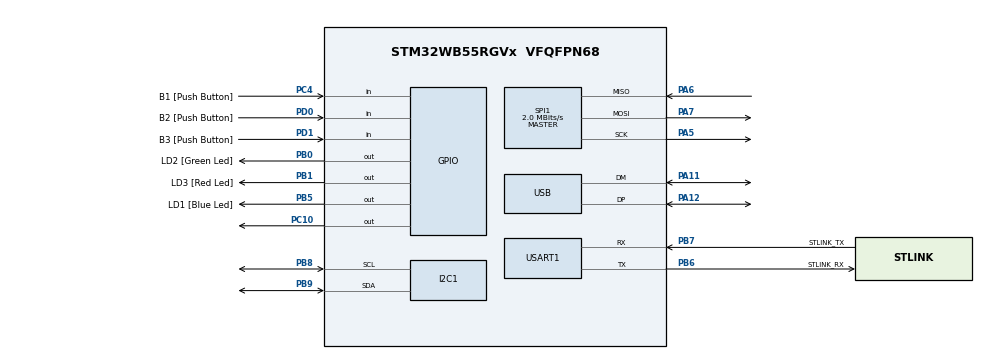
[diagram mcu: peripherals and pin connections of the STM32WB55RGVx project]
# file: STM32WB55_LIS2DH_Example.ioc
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FATFS._MAX_SS=4096
I2C1.Timing=0x00B07CB4
Mcu.Family=STM32WB
Mcu.Name=STM32WB55RGVx
Mcu.Package=VFQFPN68
NVIC.PriorityGroup=NVIC_PRIORITYGROUP_4
OSC_IN.Mode=HSE-External-Oscillator
OSC_IN.Signal=RCC_OSC_IN
OSC_OUT.Mode=HSE-External-Oscillator
OSC_OUT.Signal=RCC_OSC_OUT
PA11.Mode=Device
PA11.Signal=USB_DM
PA12.Mode=Device
PA12.Signal=USB_DP
PA13.GPIO_Label=JTMS
PA13.Mode=Serial_Wire
PA13.Signal=SYS_JTMS-SWDIO
PA14.GPIO_Label=JTCK
PA14.Mode=Serial_Wire
PA14.Signal=SYS_JTCK-SWCLK
PA5.Mode=Full_Duplex_Master
PA5.Signal=SPI1_SCK
PA6.Mode=Full_Duplex_Master
PA6.Signal=SPI1_MISO
PA7.Mode=Full_Duplex_Master
PA7.Signal=SPI1_MOSI
PB0.GPIO_Label=LD2 [Green Led]
PB0.Signal=GPIO_Output
PB1.GPIO_Label=LD3 [Red Led]
PB1.Signal=GPIO_Output
PB3.GPIO_Label=JTDO
PB3.Signal=SYS_JTDO-SWO
PB5.GPIO_Label=LD1 [Blue Led]
PB5.Signal=GPIO_Output
PB6.GPIO_Label=STLINK_RX
PB6.GPIO_PuPd=GPIO_PULLUP
PB6.Mode=Asynchronous
PB6.Signal=USART1_TX
PB7.GPIO_Label=STLINK_TX
PB7.GPIO_PuPd=GPIO_PULLUP
PB7.Mode=Asynchronous
PB7.Signal=USART1_RX
PB8.Mode=I2C
PB8.Signal=I2C1_SCL
PB9.Mode=I2C
PB9.Signal=I2C1_SDA
PC10.Signal=GPIO_Output
PC13.Mode=SYS_WakeUp1
PC13.Signal=SYS_WKUP2
PC14-OSC32_IN.Mode=LSE-External-Oscillator
PC14-OSC32_IN.Signal=RCC_OSC32_IN
PC15-OSC32_OUT.Mode=LSE-External-Oscillator
PC15-OSC32_OUT.Signal=RCC_OSC32_OUT
PC4.GPIO_Label=B1 [Push Button]
PC4.Signal=GPIO_Input
PD0.GPIO_Label=B2 [Push Button]
PD0.Signal=GPIO_Input
PD1.GPIO_Label=B3 [Push Button]
PD1.Signal=GPIO_Input
ProjectManager.HeapSize=0x200
ProjectManager.StackSize=0x400
ProjectManager.TargetToolchain=STM32CubeIDE
RCC.ADCFreq_Value=48000000
RCC.AHBFreq_Value=32000000
RCC.APB1Freq_Value=32000000
RCC.APB1TimFreq_Value=32000000
RCC.APB2Freq_Value=32000000
RCC.APB2TimFreq_Value=32000000
RCC.APB3Freq_Value=16000000
RCC.Cortex2_Div=SYSTICK_CLKSOURCE_HCLK_DIV8
RCC.CortexFreq_Value=32000000
RCC.HCLKFreq_Value=32000000
RCC.HSE_VALUE=32000000
RCC.HSI48_VALUE=48000000
RCC.HSI_VALUE=16000000
RCC.LSE_Drive_Capability=RCC_LSEDRIVE_LOW
RCC.PLLN=24
RCC.PLLR=RCC_PLLR_DIV3
RCC.PLLSAI1N=24
RCC.SMPSCLockSelection=RCC_SMPSCLKSOURCE_HSI
RCC.SMPSCLockSelectionVirtual=RCC_SMPSCLKSOURCE_HSI
RCC.SMPSCLockSelectionVirtualVirtual=RCC_SMPSCLKSOURCE_HSI
RCC.SMPSDivider=1
RCC.SYSCLKFreq_VALUE=32000000
RCC.SYSCLKSource=RCC_SYSCLKSOURCE_PLLCLK
RCC.USBFreq_Value=48000000
RCC.VCOOutputFreq_Value=96000000
SPI1.BaudRatePrescaler=SPI_BAUDRATEPRESCALER_16
SPI1.CalculateBaudRate=2.0 MBits/s
SPI1.DataSize=SPI_DATASIZE_8BIT
SPI1.Direction=SPI_DIRECTION_2LINES
SPI1.Mode=SPI_MODE_MASTER
SPI1.VirtualType=VM_MASTER
USART1.VirtualMode-Asynchronous=VM_ASYNC
USART1.WordLength=WORDLENGTH_8B
VP_FATFS_VS_Generic.Mode=User_defined
VP_MEMORYMAP_VS_MEMORYMAP.Mode=CurAppReg
board=NUCLEO-WB55RG

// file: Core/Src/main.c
/* USER CODE BEGIN Header */
/**
 ******************************************************************************
 * @file           : main.c
 * @brief          : Main program body
 ******************************************************************************
 * @attention
 *
 * Copyright (c) 2024 STMicroelectronics.
 * All rights reserved.
 *
 * This software is licensed under terms that can be found in the LICENSE file
 * in the root directory of this software component.
 * If no LICENSE file comes with this software, it is provided AS-IS.
 *
 ******************************************************************************
 */
/* USER CODE END Header */
#include "main.h"
#include "app_fatfs.h"

/* USER CODE BEGIN Includes */
#include "fatfs_sd.h"
#include "stdio.h"
#include "stdlib.h"
#include <string.h>
#include "lis2dh12_reg.h"
/* USER CODE END Includes */

/* USER CODE BEGIN PD */
#define SENSOR_BUS hi2c1
#define BUFFER_SIZE 128
char buffer[BUFFER_SIZE];  // to store strings..

/* USER CODE END PD */

/* USER CODE BEGIN PM */
#define  BOOT_TIME 5 //ms
#define  SAMPLES  500
#define  MAX_SENSOR_DATA 18
/* USER CODE END PM */

I2C_HandleTypeDef hi2c1;

SPI_HandleTypeDef hspi1;

UART_HandleTypeDef huart1;

PCD_HandleTypeDef hpcd_USB_FS;

/* USER CODE BEGIN PV */
static int16_t data_raw_acceleration[3];
//static int16_t data_raw_temperature;
static float acceleration_mg[3];
int ODR = 0;
//static float temperature_degC;
static uint8_t whoamI;
//static uint8_t tx_buffer[1000];
char *text;
FATFS fs;  // file system
FIL fil; // File
FILINFO fno;
FRESULT fresult;  // result
UINT br, bw;  // File read/write count

/**** capacity related *****/
FATFS *pfs;
DWORD fre_clust;
uint32_t total, free_space;
int i = 0;
char dummy[500];
char data_buffer[SAMPLES][MAX_SENSOR_DATA];  // 200 rows, each holding up to 18 characters
char sd_write_buffer[SAMPLES * MAX_SENSOR_DATA]; // A single buffer for all data (200 * 18 = 3600 bytes max)

size_t total_data_length = 0;
/* USER CODE END PV */

void SystemClock_Config(void);
void PeriphCommonClock_Config(void);
static void MX_GPIO_Init(void);
static void MX_USART1_UART_Init(void);
static void MX_USB_PCD_Init(void);
static void MX_I2C1_Init(void);
static void MX_SPI1_Init(void);
/* USER CODE BEGIN PFP */
static void platform_write(void *handle, uint8_t reg, const uint8_t *bufp, uint16_t len);
static void platform_read(void *handle, uint8_t reg, uint8_t *bufp, uint16_t len);
void send_uart(char *string);
static void platform_delay(uint32_t ms);
void lis2dh12_read_data_polling(void);
static void initialize_sd_card();
void clear_buffer(void);
int bufsize(char *buf);
void write_to_sd(char *data, size_t total_size);  // Function prototype
//static void platform_init(void);
/* USER CODE END PFP */

/* USER CODE BEGIN 0 */

int _write(int32_t file, uint8_t *ptr, int32_t len)
{
  for (int i = 0; i < len; i++)
  {
    ITM_SendChar(*ptr++);
  }
  return len;
}

/* Main Example --------------------------------------------------------------*/
static void initialize_sd_card(void)
{
  // Mount SDCard
  send_uart("MOUNTING_SD_CARD\n");
  HAL_Delay(1000);

  fresult = f_mount(&fs, "", 1); /* Mode option 0:Do not mount (delayed mount), 1:Mount immediately */
  if (fresult != FR_OK)
  {
    send_uart("*************************************\n");
    send_uart("ERR_MOUNTING_SD_CARD\n");
    send_uart("*************************************\n");
    for (int x = 0; x < 6; x++)
    {
      HAL_GPIO_TogglePin(GPIOA, GPIO_PIN_8);
      HAL_Delay(500);
    }
  }
  else
  {
    send_uart("*************************************\n");
    send_uart("SUCC_MOUNTING_SD_CARD\n");
    send_uart("*************************************\n");
  }

  /*************** Card capacity details ********************/
  /*Checking free space*/
  f_getfree("", &fre_clust, &pfs);
  total = (uint32_t) ((pfs->n_fatent - 2) * pfs->csize * 0.5);
  sprintf(buffer, "SD_CARD_TOTAL_SIZE: \t%lu\n", total);
  send_uart(buffer);
  clear_buffer();
  free_space = (uint32_t) (fre_clust * pfs->csize * 0.5);
  sprintf(buffer, "SD_CARD_FREE_SPACE: \t%lu\n", free_space);
  send_uart(buffer);
  clear_buffer();
}

void lis2dh12_read_data_polling(void)
{
  /* Initialize mems driver interface */
  stmdev_ctx_t dev_ctx;
  lis2dh12_odr_t data_rate;         // Variable to store the data rate
  int32_t ret;

  // Call the function to get the data rate
  dev_ctx.write_reg = platform_write;
  dev_ctx.read_reg = platform_read;
  dev_ctx.mdelay = platform_delay;
  dev_ctx.handle = &hi2c1;
  /* Wait boot time and initialize platform specific hardware */
  //  platform_init();
  /* Wait sensor boot time */
  platform_delay(BOOT_TIME);
  /* Check device ID */
  lis2dh12_device_id_get(&dev_ctx, &whoamI);

  if (whoamI != LIS2DH12_ID)
  {
    while (1)
    {
      /* manage here device not found */
    }
  }
  /* Enable Block Data Update. */
  lis2dh12_block_data_update_set(&dev_ctx, PROPERTY_ENABLE);
  /* Set Output Data Rate to 1Hz. */
  lis2dh12_data_rate_set(&dev_ctx, LIS2DH12_ODR_200Hz);
  /* Set full scale to 2g. */
  lis2dh12_full_scale_set(&dev_ctx, LIS2DH12_2g);
  /* Enable temperature sensor. */
  //  lis2dh12_temperature_meas_set(&dev_ctx, LIS2DH12_TEMP_ENABLE);
  /* Set device in continuous mode with 12 bit resol. */
  lis2dh12_operating_mode_set(&dev_ctx, LIS2DH12_HR_12bit);

  ret = lis2dh12_data_rate_get(&dev_ctx, &data_rate);
  // Check if the function executed successfully
  if (ret == 0)
  {
    // Print the data rate based on the returned value
    switch (data_rate)
    {
    case LIS2DH12_POWER_DOWN:
      send_uart("Data rate: Power Down\n");
      break;
    case LIS2DH12_ODR_1Hz:
      send_uart("Data rate: 1 Hz\n");
      break;
    case LIS2DH12_ODR_10Hz:
      send_uart("Data rate: 10 Hz\n");
      break;
    case LIS2DH12_ODR_25Hz:
      send_uart("Data rate: 25 Hz\n");
      break;
    case LIS2DH12_ODR_50Hz:
      send_uart("Data rate: 50 Hz\n");
      break;
    case LIS2DH12_ODR_100Hz:
      send_uart("Data rate: 100 Hz\n");
      break;
    case LIS2DH12_ODR_200Hz:
      send_uart("Data rate: 200 Hz\n");
      break;
    case LIS2DH12_ODR_400Hz:
      send_uart("Data rate: 400 Hz\n");
      break;
    case LIS2DH12_ODR_1kHz620_LP:
      send_uart("Data rate: 1.620 kHz (Low Power mode)\n");
      break;
    case LIS2DH12_ODR_5kHz376_LP_1kHz344_NM_HP:
      send_uart("Data rate: 5.376 kHz (Low Power) / 1.344 kHz (Normal/High Performance)\n");
      break;
    default:
      send_uart("Data rate: Unknown\n");
      break;
    }
  }
  else
  {
    // Handle error
    sprintf(buffer, "Failed to read data rate, error code: %ld\n", ret);
    send_uart(buffer);
  }

  for (int i = 0; i < SAMPLES; i++)
  { //sampling 200 data = 2 detik (i.0n 100Hz)
    uint32_t start_time = HAL_GetTick(); //HAL_GetTick(); resolution in ms
    lis2dh12_reg_t reg;
    lis2dh12_xl_data_ready_get(&dev_ctx, &reg.byte);
    memset(data_raw_acceleration, 0x00, 3 * sizeof(int16_t));
    lis2dh12_acceleration_raw_get(&dev_ctx, data_raw_acceleration);
    acceleration_mg[0] = lis2dh12_from_fs2_hr_to_mg(data_raw_acceleration[0]);
    acceleration_mg[1] = lis2dh12_from_fs2_hr_to_mg(data_raw_acceleration[1]);
    acceleration_mg[2] = lis2dh12_from_fs2_hr_to_mg(data_raw_acceleration[2]);
    // Append formatted data directly to the single buffer (max 18 characters per entry)
    // Store formatted data in data_buffer (max 18 characters)
    snprintf(
        data_buffer[i],
        sizeof(data_buffer[i]),
        "%d,%d,%d\n",
        (int) acceleration_mg[0],
        (int) acceleration_mg[1],
        (int) acceleration_mg[2]);

    // Concatenate each line to sd_write_buffer and update total length
    size_t line_length = strlen(data_buffer[i]);
    memcpy(sd_write_buffer + total_data_length, data_buffer[i], line_length);
    total_data_length += line_length;

    // Wait until 10ms have passed
    while (HAL_GetTick() < start_time + 10)
    {
      //wait for 1ms
    }
  }
  send_uart("finish polling sensor data\n");
}

// Function to write the global data_buffer to SD card
void write_to_sd(char *data, size_t total_size)
{

  int counter = 0;
  int file_exists = 0;
  char filename[100];

  do
  {
    if (counter == 0)
    {
      snprintf(filename, sizeof(filename), "result.csv");
    }
    else
    {
      snprintf(filename, sizeof(filename), "result_%d.csv", counter);
    }

    if (f_open(&fil, filename, FA_OPEN_EXISTING) == FR_OK)
    {
      f_close(&fil);
      file_exists = 1;
      counter++;
    }
    else
    {
      file_exists = 0;
    }
  }
  while (file_exists);

  if (f_open(&fil, filename, FA_OPEN_APPEND | FA_WRITE) == FR_OK)
  {
    fresult = f_write(&fil, data, total_size, &br);
    if (fresult != FR_OK || br != total_size)
    {
      // Handle write error
    }
    f_close(&fil);
  }
  else
  {
    // Handle file open error
  }
  /* Unmount SDCARD */
  fresult = f_mount(NULL, "", 0);
  if (fresult == FR_OK)
  {
    send_uart("SD CARD UNMOUNTED successfully...\n");
  }
  memset(data_buffer, 0, sizeof(data_buffer));
}

/*
 * @brief  Write generic device register (platform dependent)
 *
 * @param  handle    customizable argument. In this examples is used in
 *                   order to select the correct sensor bus handler.
 * @param  reg       register to write
 * @param  bufp      pointer to data to write in register reg
 * @param  len       number of consecutive register to write
 *
 */
static void platform_write(void *handle, uint8_t reg, const uint8_t *bufp, uint16_t len)
{
  reg |= 0x80;
  HAL_I2C_Mem_Write(handle, LIS2DH12_I2C_ADD_L, reg,
  I2C_MEMADD_SIZE_8BIT, (uint8_t*) bufp, len, 1000);
}

static void platform_read(void *handle, uint8_t reg, uint8_t *bufp, uint16_t len)
{
  /* Read multiple command */
  reg |= 0x80;
  HAL_I2C_Mem_Read(handle, LIS2DH12_I2C_ADD_L, reg,
  I2C_MEMADD_SIZE_8BIT, bufp, len, 1000);
}

void send_uart(char *string)
{
  uint8_t len = strlen(string);
  HAL_UART_Transmit(&huart1, (uint8_t*) string, len, 1000);
}

static void platform_delay(uint32_t ms)
{
  HAL_Delay(ms);
}

int bufsize(char *buf)
{
  int i = 0;
  while (*buf++ != '\0')
    i++;
  return i;
}

void clear_buffer(void)
{
  for (int i = 0; i < BUFFER_SIZE; i++)
    buffer[i] = '\0';
}

/* USER CODE END 0 */

int main(void)
{

  /* MCU Configuration--------------------------------------------------------*/

  /* Reset of all peripherals, Initializes the Flash interface and the Systick. */
  HAL_Init();

  /* Configure the system clock */
  SystemClock_Config();

  /* Configure the peripherals common clocks */
  PeriphCommonClock_Config();

  /* Initialize all configured peripherals */
  MX_GPIO_Init();
  MX_USART1_UART_Init();
  MX_USB_PCD_Init();
  MX_I2C1_Init();
  MX_SPI1_Init();
  if (MX_FATFS_Init() != APP_OK)
  {
    Error_Handler();
  }
  /* USER CODE BEGIN 2 */
  //  logging_sdcard("################\n");
  initialize_sd_card();
  lis2dh12_read_data_polling();
  write_to_sd(sd_write_buffer, total_data_length);

  /* USER CODE END 2 */

  /* Infinite loop */
  while (1)
  {

    /* USER CODE BEGIN 3 */
//    lis2dh12_read_data_polling();
  }
  /* USER CODE END 3 */
}

void SystemClock_Config(void)
{
  RCC_OscInitTypeDef RCC_OscInitStruct = { 0 };
  RCC_ClkInitTypeDef RCC_ClkInitStruct = { 0 };

  /** Configure LSE Drive Capability
   */
  HAL_PWR_EnableBkUpAccess();
  __HAL_RCC_LSEDRIVE_CONFIG(RCC_LSEDRIVE_LOW);

  /** Configure the main internal regulator output voltage
   */
  __HAL_PWR_VOLTAGESCALING_CONFIG(PWR_REGULATOR_VOLTAGE_SCALE1);

  /** Initializes the RCC Oscillators according to the specified parameters
   * in the RCC_OscInitTypeDef structure.
   */
  RCC_OscInitStruct.OscillatorType = RCC_OSCILLATORTYPE_HSI | RCC_OSCILLATORTYPE_HSE | RCC_OSCILLATORTYPE_LSE
      | RCC_OSCILLATORTYPE_MSI;
  RCC_OscInitStruct.HSEState = RCC_HSE_ON;
  RCC_OscInitStruct.LSEState = RCC_LSE_ON;
  RCC_OscInitStruct.HSIState = RCC_HSI_ON;
  RCC_OscInitStruct.MSIState = RCC_MSI_ON;
  RCC_OscInitStruct.HSICalibrationValue = RCC_HSICALIBRATION_DEFAULT;
  RCC_OscInitStruct.MSICalibrationValue = RCC_MSICALIBRATION_DEFAULT;
  RCC_OscInitStruct.MSIClockRange = RCC_MSIRANGE_6;
  RCC_OscInitStruct.PLL.PLLState = RCC_PLL_ON;
  RCC_OscInitStruct.PLL.PLLSource = RCC_PLLSOURCE_MSI;
  RCC_OscInitStruct.PLL.PLLM = RCC_PLLM_DIV1;
  RCC_OscInitStruct.PLL.PLLN = 24;
  RCC_OscInitStruct.PLL.PLLP = RCC_PLLP_DIV2;
  RCC_OscInitStruct.PLL.PLLR = RCC_PLLR_DIV3;
  RCC_OscInitStruct.PLL.PLLQ = RCC_PLLQ_DIV2;
  if (HAL_RCC_OscConfig(&RCC_OscInitStruct) != HAL_OK)
  {
    Error_Handler();
  }

  /** Configure the SYSCLKSource, HCLK, PCLK1 and PCLK2 clocks dividers
   */
  RCC_ClkInitStruct.ClockType = RCC_CLOCKTYPE_HCLK4 | RCC_CLOCKTYPE_HCLK2 | RCC_CLOCKTYPE_HCLK | RCC_CLOCKTYPE_SYSCLK
      | RCC_CLOCKTYPE_PCLK1 | RCC_CLOCKTYPE_PCLK2;
  RCC_ClkInitStruct.SYSCLKSource = RCC_SYSCLKSOURCE_PLLCLK;
  RCC_ClkInitStruct.AHBCLKDivider = RCC_SYSCLK_DIV1;
  RCC_ClkInitStruct.APB1CLKDivider = RCC_HCLK_DIV1;
  RCC_ClkInitStruct.APB2CLKDivider = RCC_HCLK_DIV1;
  RCC_ClkInitStruct.AHBCLK2Divider = RCC_SYSCLK_DIV1;
  RCC_ClkInitStruct.AHBCLK4Divider = RCC_SYSCLK_DIV1;

  if (HAL_RCC_ClockConfig(&RCC_ClkInitStruct, FLASH_LATENCY_1) != HAL_OK)
  {
    Error_Handler();
  }

  /** Enable MSI Auto calibration
   */
  HAL_RCCEx_EnableMSIPLLMode();
}

void PeriphCommonClock_Config(void)
{
  RCC_PeriphCLKInitTypeDef PeriphClkInitStruct = { 0 };

  /** Initializes the peripherals clock
   */
  PeriphClkInitStruct.PeriphClockSelection = RCC_PERIPHCLK_SMPS;
  PeriphClkInitStruct.SmpsClockSelection = RCC_SMPSCLKSOURCE_HSI;
  PeriphClkInitStruct.SmpsDivSelection = RCC_SMPSCLKDIV_RANGE0;

  if (HAL_RCCEx_PeriphCLKConfig(&PeriphClkInitStruct) != HAL_OK)
  {
    Error_Handler();
  }
}

static void MX_I2C1_Init(void)
{

  hi2c1.Instance = I2C1;
  hi2c1.Init.Timing = 0x00B07CB4;
  hi2c1.Init.OwnAddress1 = 0;
  hi2c1.Init.AddressingMode = I2C_ADDRESSINGMODE_7BIT;
  hi2c1.Init.DualAddressMode = I2C_DUALADDRESS_DISABLE;
  hi2c1.Init.OwnAddress2 = 0;
  hi2c1.Init.OwnAddress2Masks = I2C_OA2_NOMASK;
  hi2c1.Init.GeneralCallMode = I2C_GENERALCALL_DISABLE;
  hi2c1.Init.NoStretchMode = I2C_NOSTRETCH_DISABLE;
  if (HAL_I2C_Init(&hi2c1) != HAL_OK)
  {
    Error_Handler();
  }

  /** Configure Analogue filter
   */
  if (HAL_I2CEx_ConfigAnalogFilter(&hi2c1, I2C_ANALOGFILTER_ENABLE) != HAL_OK)
  {
    Error_Handler();
  }

  /** Configure Digital filter
   */
  if (HAL_I2CEx_ConfigDigitalFilter(&hi2c1, 0) != HAL_OK)
  {
    Error_Handler();
  }

}

static void MX_SPI1_Init(void)
{

  /* SPI1 parameter configuration*/
  hspi1.Instance = SPI1;
  hspi1.Init.Mode = SPI_MODE_MASTER;
  hspi1.Init.Direction = SPI_DIRECTION_2LINES;
  hspi1.Init.DataSize = SPI_DATASIZE_8BIT;
  hspi1.Init.CLKPolarity = SPI_POLARITY_LOW;
  hspi1.Init.CLKPhase = SPI_PHASE_1EDGE;
  hspi1.Init.NSS = SPI_NSS_SOFT;
  hspi1.Init.BaudRatePrescaler = SPI_BAUDRATEPRESCALER_16;
  hspi1.Init.FirstBit = SPI_FIRSTBIT_MSB;
  hspi1.Init.TIMode = SPI_TIMODE_DISABLE;
  hspi1.Init.CRCCalculation = SPI_CRCCALCULATION_DISABLE;
  hspi1.Init.CRCPolynomial = 7;
  hspi1.Init.CRCLength = SPI_CRC_LENGTH_DATASIZE;
  hspi1.Init.NSSPMode = SPI_NSS_PULSE_ENABLE;
  if (HAL_SPI_Init(&hspi1) != HAL_OK)
  {
    Error_Handler();
  }

}

static void MX_USART1_UART_Init(void)
{

  huart1.Instance = USART1;
  huart1.Init.BaudRate = 115200;
  huart1.Init.WordLength = UART_WORDLENGTH_8B;
  huart1.Init.StopBits = UART_STOPBITS_1;
  huart1.Init.Parity = UART_PARITY_NONE;
  huart1.Init.Mode = UART_MODE_TX_RX;
  huart1.Init.HwFlowCtl = UART_HWCONTROL_NONE;
  huart1.Init.OverSampling = UART_OVERSAMPLING_16;
  huart1.Init.OneBitSampling = UART_ONE_BIT_SAMPLE_DISABLE;
  huart1.Init.ClockPrescaler = UART_PRESCALER_DIV1;
  huart1.AdvancedInit.AdvFeatureInit = UART_ADVFEATURE_NO_INIT;
  if (HAL_UART_Init(&huart1) != HAL_OK)
  {
    Error_Handler();
  }
  if (HAL_UARTEx_SetTxFifoThreshold(&huart1, UART_TXFIFO_THRESHOLD_1_8) != HAL_OK)
  {
    Error_Handler();
  }
  if (HAL_UARTEx_SetRxFifoThreshold(&huart1, UART_RXFIFO_THRESHOLD_1_8) != HAL_OK)
  {
    Error_Handler();
  }
  if (HAL_UARTEx_DisableFifoMode(&huart1) != HAL_OK)
  {
    Error_Handler();
  }

}

static void MX_USB_PCD_Init(void)
{

  hpcd_USB_FS.Instance = USB;
  hpcd_USB_FS.Init.dev_endpoints = 8;
  hpcd_USB_FS.Init.speed = PCD_SPEED_FULL;
  hpcd_USB_FS.Init.phy_itface = PCD_PHY_EMBEDDED;
  hpcd_USB_FS.Init.Sof_enable = DISABLE;
  hpcd_USB_FS.Init.low_power_enable = DISABLE;
  hpcd_USB_FS.Init.lpm_enable = DISABLE;
  hpcd_USB_FS.Init.battery_charging_enable = DISABLE;
  if (HAL_PCD_Init(&hpcd_USB_FS) != HAL_OK)
  {
    Error_Handler();
  }

}

static void MX_GPIO_Init(void)
{
  GPIO_InitTypeDef GPIO_InitStruct = { 0 };

  /* GPIO Ports Clock Enable */
  __HAL_RCC_GPIOC_CLK_ENABLE();
  __HAL_RCC_GPIOB_CLK_ENABLE();
  __HAL_RCC_GPIOA_CLK_ENABLE();
  __HAL_RCC_GPIOD_CLK_ENABLE();

  /*Configure GPIO pin Output Level */
  HAL_GPIO_WritePin(GPIOB, LD2_Pin | LD3_Pin | LD1_Pin, GPIO_PIN_RESET);

  /*Configure GPIO pin Output Level */
  HAL_GPIO_WritePin(GPIOC, GPIO_PIN_10, GPIO_PIN_RESET);

  /*Configure GPIO pin : B1_Pin */
  GPIO_InitStruct.Pin = B1_Pin;
  GPIO_InitStruct.Mode = GPIO_MODE_INPUT;
  GPIO_InitStruct.Pull = GPIO_NOPULL;
  HAL_GPIO_Init(B1_GPIO_Port, &GPIO_InitStruct);

  /*Configure GPIO pins : LD2_Pin LD3_Pin LD1_Pin */
  GPIO_InitStruct.Pin = LD2_Pin | LD3_Pin | LD1_Pin;
  GPIO_InitStruct.Mode = GPIO_MODE_OUTPUT_PP;
  GPIO_InitStruct.Pull = GPIO_NOPULL;
  GPIO_InitStruct.Speed = GPIO_SPEED_FREQ_LOW;
  HAL_GPIO_Init(GPIOB, &GPIO_InitStruct);

  /*Configure GPIO pin : PC10 */
  GPIO_InitStruct.Pin = GPIO_PIN_10;
  GPIO_InitStruct.Mode = GPIO_MODE_OUTPUT_PP;
  GPIO_InitStruct.Pull = GPIO_NOPULL;
  GPIO_InitStruct.Speed = GPIO_SPEED_FREQ_LOW;
  HAL_GPIO_Init(GPIOC, &GPIO_InitStruct);

  /*Configure GPIO pins : B2_Pin B3_Pin */
  GPIO_InitStruct.Pin = B2_Pin | B3_Pin;
  GPIO_InitStruct.Mode = GPIO_MODE_INPUT;
  GPIO_InitStruct.Pull = GPIO_NOPULL;
  HAL_GPIO_Init(GPIOD, &GPIO_InitStruct);

}

void Error_Handler(void)
{
  __disable_irq();
  while (1)
  {
  }
}
